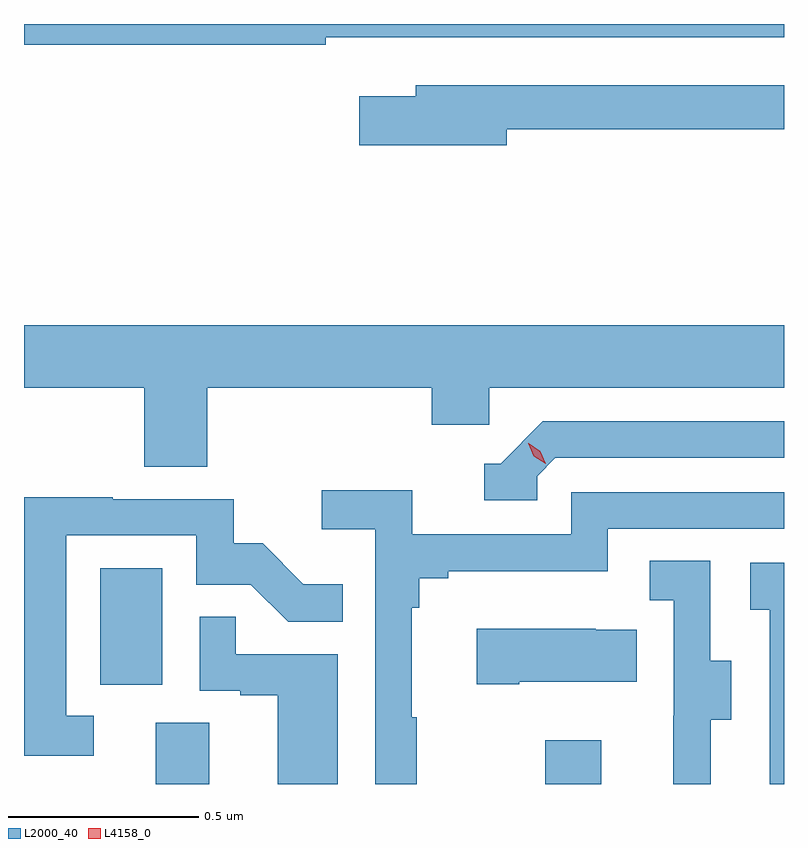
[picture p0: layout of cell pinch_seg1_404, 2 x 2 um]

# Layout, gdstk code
import gdstk
lib = gdstk.Library(unit=1e-6, precision=1e-09)
def R(c, l, rs):  # rectangles x0, y0, x1, y1
    for r in rs: c.add(gdstk.rectangle(r[:2], r[2:], *l))
def P(c, l, *ps):  # polygons
    for p in ps: c.add(gdstk.Polygon(p, *l))
L2000_40 = (2000, 40)
L4158_0 = (4158, 0)

pinch_seg1_404 = lib.new_cell('pinch_seg1_404')
R(pinch_seg1_404, L2000_40, [(999.521,534.705,999.661,534.866), (1000.546,534.705,1000.693,534.82), (999.374,534.966,999.538,535.273)])
P(pinch_seg1_404, L2000_40, [(999.968,536.67),(1001.174,536.67),(1001.174,536.705),(999.174,536.705),(999.174,536.65),(999.968,536.65)],
  [(1000.444,536.428),(1001.174,536.428),(1001.174,536.544),(1000.205,536.544),(1000.205,536.515),(1000.056,536.515),(1000.056,536.386),(1000.444,536.386)],
  [(999.656,535.748),(1000.247,535.748),(1000.247,535.65),(1000.398,535.65),(1000.398,535.748),(1001.174,535.748),(1001.174,535.912),(999.174,535.912),(999.174,535.748),(999.491,535.748),(999.491,535.54),(999.656,535.54)],
  [(1000.524,535.515),(1000.572,535.563),(1001.174,535.563),(1001.174,535.659),(1000.539,535.659),(1000.428,535.548),(1000.385,535.548),(1000.385,535.452),(1000.524,535.452)],
  [(1000.207,534.881),(1000.195,534.881),(1000.195,535.169),(1000.214,535.169),(1000.214,535.246),(1000.291,535.246),(1000.291,535.265),(1000.71,535.265),(1000.71,535.377),(1001.174,535.377),(1001.174,535.473),(1000.614,535.473),(1000.614,535.362),(1000.196,535.362),(1000.196,535.478),(999.957,535.478),(999.957,535.376),(1000.098,535.376),(1000.098,534.705),(1000.207,534.705)],
  [(999.358,534.885),(999.285,534.885),(999.285,535.359),(999.627,535.359),(999.627,535.23),(999.771,535.23),(999.869,535.132),(1000.013,535.132),(1000.013,535.231),(999.909,535.231),(999.802,535.338),(999.726,535.338),(999.726,535.455),(999.407,535.455),(999.407,535.46),(999.174,535.46),(999.174,534.78),(999.358,534.78)],
  [(1000.981,534.874),(1001.035,534.874),(1001.035,535.029),(1000.98,535.029),(1000.98,535.292),(1000.821,535.292),(1000.821,535.189),(1000.884,535.189),(1000.884,534.885),(1000.883,534.885),(1000.883,534.705),(1000.981,534.705)],
  [(1001.174,535.287),(1001.085,535.287),(1001.085,535.163),(1001.136,535.163),(1001.136,534.705),(1001.174,534.705)],
  [(1000,535.047),(999.731,535.047),(999.731,535.145),(999.636,535.145),(999.636,534.951),(999.743,534.951),(999.743,534.939),(999.842,534.939),(999.842,534.705),(1000,534.705)],
  [(1000.477,534.974),(1000.787,534.974),(1000.787,535.111),(1000.679,535.111),(1000.679,535.114),(1000.365,535.114),(1000.365,534.967),(1000.477,534.967)])
P(pinch_seg1_404, L4158_0, [(1000.547,535.548),(1000.516,535.568),(1000.501,535.602),(1000.501,535.602),(1000.502,535.602),(1000.532,535.581),(1000.547,535.548),(1000.547,535.548)])

lib.write_gds('pinch_seg1_404.gds')
